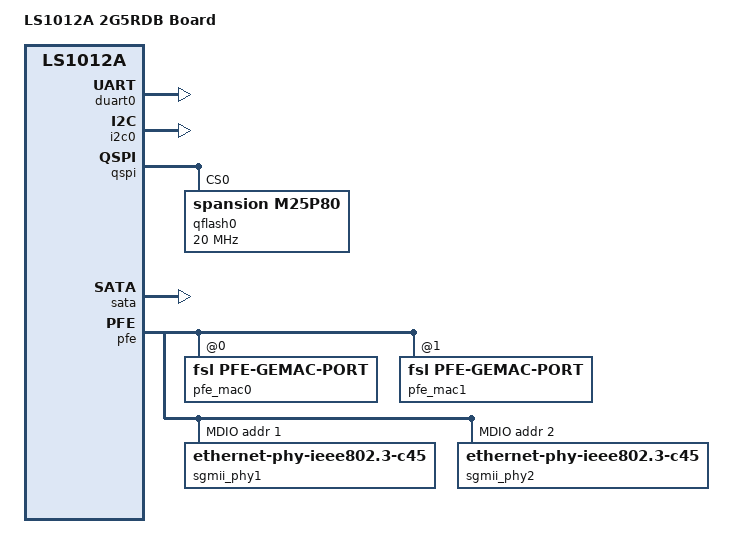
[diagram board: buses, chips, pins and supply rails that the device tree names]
// SPDX-License-Identifier: (GPL-2.0+ OR MIT)
/*
 * Device Tree file for NXP LS1012A 2G5RDB Board.
 *
 * Copyright 2017 NXP
 *
 * Bhaskar Upadhaya <bhaskar.upadhaya@nxp.com>
 */
/dts-v1/;

#include "fsl-ls1012a.dtsi"

/ {
	model = "LS1012A 2G5RDB Board";
	compatible = "fsl,ls1012a-rdb", "fsl,ls1012a";

	aliases {
		ethernet0 = &pfe_mac0;
		ethernet1 = &pfe_mac1;
		mmc0 = &esdhc0;
		mmc1 = &esdhc1;
	};
};

&duart0 {
	status = "okay";
};

&i2c0 {
	status = "okay";
};

&qspi {
	num-cs = <2>;
	bus-num = <0>;
	status = "okay";

	qflash0: s25fs512s@0 {
		compatible = "spansion,m25p80";
		#address-cells = <1>;
		#size-cells = <1>;
		spi-max-frequency = <20000000>;
		m25p,fast-read;
		reg = <0>;
	};
};

&sata {
	status = "okay";
};

&pfe {
	status = "okay";
	#address-cells = <1>;
	#size-cells = <0>;

	pfe_mac0: ethernet@0 {
		compatible = "fsl,pfe-gemac-port";
		#address-cells = <1>;
		#size-cells = <0>;
		reg = <0x0>;	/* GEM_ID */
		fsl,mdio-mux-val = <0x0>;
		phy-mode = "sgmii-2500";
		phy-handle = <&sgmii_phy1>;
	};

	pfe_mac1: ethernet@1 {
		compatible = "fsl,pfe-gemac-port";
		#address-cells = <1>;
		#size-cells = <0>;
		reg = <0x1>;	/* GEM_ID */
		fsl,mdio-mux-val = <0x0>;
		phy-mode = "sgmii-2500";
		phy-handle = <&sgmii_phy2>;
	};

	mdio@0 {
		#address-cells = <1>;
		#size-cells = <0>;

		sgmii_phy1: ethernet-phy@1 {
			compatible = "ethernet-phy-ieee802.3-c45";
			reg = <0x1>;
		};

		sgmii_phy2: ethernet-phy@2 {
			compatible = "ethernet-phy-ieee802.3-c45";
			reg = <0x2>;
		};
	};
};
